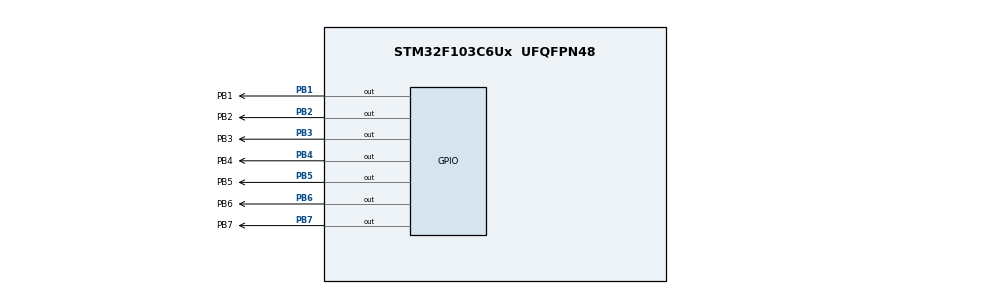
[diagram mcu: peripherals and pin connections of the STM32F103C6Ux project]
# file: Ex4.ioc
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Mcu.Family=STM32F1
Mcu.Name=STM32F103C6Ux
Mcu.Package=UFQFPN48
NVIC.PriorityGroup=NVIC_PRIORITYGROUP_4
PB1.GPIO_Label=PB1
PB1.Signal=GPIO_Output
PB2.GPIO_Label=PB2
PB2.Signal=GPIO_Output
PB3.GPIO_Label=PB3
PB3.Signal=GPIO_Output
PB4.GPIO_Label=PB4
PB4.Signal=GPIO_Output
PB5.GPIO_Label=PB5
PB5.Signal=GPIO_Output
PB6.GPIO_Label=PB6
PB6.Signal=GPIO_Output
PB7.GPIO_Label=PB7
PB7.Signal=GPIO_Output
ProjectManager.HeapSize=0x200
ProjectManager.StackSize=0x400
ProjectManager.TargetToolchain=STM32CubeIDE
RCC.APB1Freq_Value=8000000
RCC.APB2Freq_Value=8000000
VP_SYS_VS_ND.Mode=No_Debug
board=custom

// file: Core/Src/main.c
/* USER CODE BEGIN Header */
/**
  ****************************************************************************
  * @file           : main.c
  * @brief          : Main program body
  ****************************************************************************
  * @attention
  *
  * <h2><center>&copy; Copyright (c) 2022 STMicroelectronics.
  * All rights reserved.</center></h2>
  *
  * This software component is licensed by ST under BSD 3-Clause license,
  * the "License"; You may not use this file except in compliance with the
  * License. You may obtain a copy of the License at:
  *                        opensource.org/licenses/BSD-3-Clause
  *
  ****************************************************************************
  */
/* USER CODE END Header */
#include "main.h"

/* USER CODE BEGIN PTD */
void display7SEG(int num){
	//0
	    if(num == 0){
	    HAL_GPIO_WritePin(PB1_GPIO_Port, PB1_Pin , 0);
	    HAL_GPIO_WritePin(PB2_GPIO_Port, PB2_Pin , 0);
	    HAL_GPIO_WritePin(PB3_GPIO_Port, PB3_Pin , 0);
	    HAL_GPIO_WritePin(PB4_GPIO_Port, PB4_Pin , 0);
	    HAL_GPIO_WritePin(PB5_GPIO_Port, PB5_Pin , 0);
	    HAL_GPIO_WritePin(PB6_GPIO_Port, PB6_Pin , 0);
	    HAL_GPIO_WritePin(PB7_GPIO_Port, PB7_Pin , 1);
	    }
	    //1
	    if(num==1){
	    HAL_GPIO_WritePin(PB1_GPIO_Port, PB1_Pin , GPIO_PIN_SET);
	    HAL_GPIO_WritePin(PB1_GPIO_Port, PB2_Pin , GPIO_PIN_RESET);
	    HAL_GPIO_WritePin(PB2_GPIO_Port, PB3_Pin , GPIO_PIN_RESET);
	    HAL_GPIO_WritePin(PB3_GPIO_Port, PB4_Pin , GPIO_PIN_SET);
	    HAL_GPIO_WritePin(PB4_GPIO_Port, PB5_Pin , GPIO_PIN_SET);
	    HAL_GPIO_WritePin(PB5_GPIO_Port, PB6_Pin , GPIO_PIN_SET);
	    HAL_GPIO_WritePin(PB6_GPIO_Port, PB7_Pin , GPIO_PIN_SET);
	    }
	    //2
	    if(num==2){
	    HAL_GPIO_WritePin(PB1_GPIO_Port, PB1_Pin , GPIO_PIN_RESET);//
	    HAL_GPIO_WritePin(PB2_GPIO_Port, PB2_Pin , GPIO_PIN_RESET);
	    HAL_GPIO_WritePin(PB3_GPIO_Port, PB3_Pin , GPIO_PIN_SET);
	    HAL_GPIO_WritePin(PB4_GPIO_Port, PB4_Pin , GPIO_PIN_RESET);
	    HAL_GPIO_WritePin(PB5_GPIO_Port, PB5_Pin , GPIO_PIN_RESET);
	    HAL_GPIO_WritePin(PB6_GPIO_Port, PB6_Pin , GPIO_PIN_SET);
	    HAL_GPIO_WritePin(PB7_GPIO_Port, PB7_Pin , GPIO_PIN_RESET);
	    }
	    //3
	    if(num==3){
	    HAL_GPIO_WritePin(PB1_GPIO_Port, PB1_Pin , GPIO_PIN_RESET);
	    HAL_GPIO_WritePin(PB2_GPIO_Port, PB2_Pin , GPIO_PIN_RESET);
	    HAL_GPIO_WritePin(PB3_GPIO_Port, PB3_Pin , GPIO_PIN_RESET);
	    HAL_GPIO_WritePin(PB4_GPIO_Port, PB4_Pin , GPIO_PIN_RESET);
	    HAL_GPIO_WritePin(PB5_GPIO_Port, PB5_Pin , GPIO_PIN_SET);
	    HAL_GPIO_WritePin(PB6_GPIO_Port, PB6_Pin , GPIO_PIN_SET);
	    HAL_GPIO_WritePin(PB7_GPIO_Port, PB7_Pin , GPIO_PIN_RESET);
	   }
	    //4
	    if(num==4){
	    HAL_GPIO_WritePin(PB1_GPIO_Port, PB1_Pin , GPIO_PIN_SET);
	    HAL_GPIO_WritePin(PB2_GPIO_Port, PB2_Pin , GPIO_PIN_RESET);
	    HAL_GPIO_WritePin(PB3_GPIO_Port, PB3_Pin , GPIO_PIN_RESET);
	    HAL_GPIO_WritePin(PB4_GPIO_Port, PB4_Pin , GPIO_PIN_SET);
	    HAL_GPIO_WritePin(PB5_GPIO_Port, PB5_Pin , GPIO_PIN_SET);
	    HAL_GPIO_WritePin(PB6_GPIO_Port, PB6_Pin , GPIO_PIN_RESET);
	    HAL_GPIO_WritePin(PB7_GPIO_Port, PB7_Pin , GPIO_PIN_RESET);
	    }
	   //5
	    if(num==5){
	    HAL_GPIO_WritePin(PB1_GPIO_Port, PB1_Pin , GPIO_PIN_RESET);
	    HAL_GPIO_WritePin(PB2_GPIO_Port, PB2_Pin , GPIO_PIN_SET);
	    HAL_GPIO_WritePin(PB3_GPIO_Port, PB3_Pin , GPIO_PIN_RESET);
	    HAL_GPIO_WritePin(PB4_GPIO_Port, PB4_Pin , GPIO_PIN_RESET);
	    HAL_GPIO_WritePin(PB5_GPIO_Port, PB5_Pin , GPIO_PIN_SET);
	    HAL_GPIO_WritePin(PB6_GPIO_Port, PB6_Pin , GPIO_PIN_RESET);
	    HAL_GPIO_WritePin(PB7_GPIO_Port, PB7_Pin , GPIO_PIN_RESET);
	    }
	    //6
	    if(num==6){
	    HAL_GPIO_WritePin(PB1_GPIO_Port, PB1_Pin , GPIO_PIN_RESET);
	    HAL_GPIO_WritePin(PB2_GPIO_Port, PB2_Pin , GPIO_PIN_SET);
	    HAL_GPIO_WritePin(PB3_GPIO_Port, PB3_Pin , GPIO_PIN_RESET);
	    HAL_GPIO_WritePin(PB4_GPIO_Port, PB4_Pin , GPIO_PIN_RESET);
	    HAL_GPIO_WritePin(PB5_GPIO_Port, PB5_Pin , GPIO_PIN_RESET);
	    HAL_GPIO_WritePin(PB6_GPIO_Port, PB6_Pin , GPIO_PIN_RESET);
	    HAL_GPIO_WritePin(PB7_GPIO_Port, PB7_Pin , GPIO_PIN_RESET);
	    }
	    //7
	    if(num==7){
	    HAL_GPIO_WritePin(PB1_GPIO_Port, PB1_Pin , GPIO_PIN_RESET);
	    HAL_GPIO_WritePin(PB2_GPIO_Port, PB2_Pin , GPIO_PIN_RESET);
	    HAL_GPIO_WritePin(PB3_GPIO_Port, PB3_Pin , GPIO_PIN_RESET);
	    HAL_GPIO_WritePin(PB4_GPIO_Port, PB4_Pin , GPIO_PIN_SET);
	    HAL_GPIO_WritePin(PB5_GPIO_Port, PB5_Pin , GPIO_PIN_SET);
	    HAL_GPIO_WritePin(PB6_GPIO_Port, PB6_Pin , GPIO_PIN_SET);
	    HAL_GPIO_WritePin(PB7_GPIO_Port, PB7_Pin , GPIO_PIN_SET);
	    }
	    //8
	    if(num==8){
	    HAL_GPIO_WritePin(PB1_GPIO_Port, PB1_Pin , GPIO_PIN_RESET);
	    HAL_GPIO_WritePin(PB2_GPIO_Port, PB2_Pin , GPIO_PIN_RESET);
	    HAL_GPIO_WritePin(PB3_GPIO_Port, PB3_Pin , GPIO_PIN_RESET);
	    HAL_GPIO_WritePin(PB4_GPIO_Port, PB4_Pin , GPIO_PIN_RESET);
	    HAL_GPIO_WritePin(PB5_GPIO_Port, PB5_Pin , GPIO_PIN_RESET);
	    HAL_GPIO_WritePin(PB6_GPIO_Port, PB6_Pin , GPIO_PIN_RESET);
	    HAL_GPIO_WritePin(PB7_GPIO_Port, PB7_Pin , GPIO_PIN_RESET);
	   }
	    //9
	    if(num==9){
	    HAL_GPIO_WritePin(PB1_GPIO_Port, PB1_Pin , GPIO_PIN_RESET);
	    HAL_GPIO_WritePin(PB2_GPIO_Port, PB2_Pin , GPIO_PIN_RESET);
	    HAL_GPIO_WritePin(PB3_GPIO_Port, PB3_Pin , GPIO_PIN_RESET);
	    HAL_GPIO_WritePin(PB4_GPIO_Port, PB4_Pin , GPIO_PIN_RESET);
	    HAL_GPIO_WritePin(PB5_GPIO_Port, PB5_Pin , GPIO_PIN_SET);
	    HAL_GPIO_WritePin(PB6_GPIO_Port, PB6_Pin , GPIO_PIN_RESET);
	    HAL_GPIO_WritePin(PB7_GPIO_Port, PB7_Pin , GPIO_PIN_RESET);

	    }
}
/* USER CODE END PTD */

void SystemClock_Config(void);
static void MX_GPIO_Init(void);

int main(void)
{

  /* MCU Configuration--------------------------------------------------------*/

  /* Reset of all peripherals, Initializes the Flash interface and the Systick. */
  HAL_Init();

  /* Configure the system clock */
  SystemClock_Config();

  /* Initialize all configured peripherals */
  MX_GPIO_Init();

  /* Infinite loop */
  /* USER CODE BEGIN WHILE */
  int counter = 0;
  while (1) {
  if( counter >= 10) counter = 0;
  display7SEG ( counter ++);
  HAL_Delay (1000);

  }

  /* USER CODE END 3 */
}

void SystemClock_Config(void)
{
  RCC_OscInitTypeDef RCC_OscInitStruct = {0};
  RCC_ClkInitTypeDef RCC_ClkInitStruct = {0};

  /** Initializes the RCC Oscillators according to the specified parameters
  * in the RCC_OscInitTypeDef structure.
  */
  RCC_OscInitStruct.OscillatorType = RCC_OSCILLATORTYPE_HSI;
  RCC_OscInitStruct.HSIState = RCC_HSI_ON;
  RCC_OscInitStruct.HSICalibrationValue = RCC_HSICALIBRATION_DEFAULT;
  RCC_OscInitStruct.PLL.PLLState = RCC_PLL_NONE;
  if (HAL_RCC_OscConfig(&RCC_OscInitStruct) != HAL_OK)
  {
    Error_Handler();
  }
  /** Initializes the CPU, AHB and APB buses clocks
  */
  RCC_ClkInitStruct.ClockType = RCC_CLOCKTYPE_HCLK|RCC_CLOCKTYPE_SYSCLK
                              |RCC_CLOCKTYPE_PCLK1|RCC_CLOCKTYPE_PCLK2;
  RCC_ClkInitStruct.SYSCLKSource = RCC_SYSCLKSOURCE_HSI;
  RCC_ClkInitStruct.AHBCLKDivider = RCC_SYSCLK_DIV1;
  RCC_ClkInitStruct.APB1CLKDivider = RCC_HCLK_DIV1;
  RCC_ClkInitStruct.APB2CLKDivider = RCC_HCLK_DIV1;

  if (HAL_RCC_ClockConfig(&RCC_ClkInitStruct, FLASH_LATENCY_0) != HAL_OK)
  {
    Error_Handler();
  }
}

static void MX_GPIO_Init(void)
{
  GPIO_InitTypeDef GPIO_InitStruct = {0};

  /* GPIO Ports Clock Enable */
  __HAL_RCC_GPIOB_CLK_ENABLE();

  /*Configure GPIO pin Output Level */
  HAL_GPIO_WritePin(GPIOB, PB1_Pin|PB2_Pin|PB3_Pin|PB4_Pin
                          |PB5_Pin|PB6_Pin|PB7_Pin, GPIO_PIN_RESET);

  /*Configure GPIO pins : PB1_Pin PB2_Pin PB3_Pin PB4_Pin
                           PB5_Pin PB6_Pin PB7_Pin */
  GPIO_InitStruct.Pin = PB1_Pin|PB2_Pin|PB3_Pin|PB4_Pin
                          |PB5_Pin|PB6_Pin|PB7_Pin;
  GPIO_InitStruct.Mode = GPIO_MODE_OUTPUT_PP;
  GPIO_InitStruct.Pull = GPIO_NOPULL;
  GPIO_InitStruct.Speed = GPIO_SPEED_FREQ_LOW;
  HAL_GPIO_Init(GPIOB, &GPIO_InitStruct);

}

void Error_Handler(void)
{
  __disable_irq();
  while (1)
  {
  }
}

/************************ (C) COPYRIGHT STMicroelectronics *****END OF FILE****/
